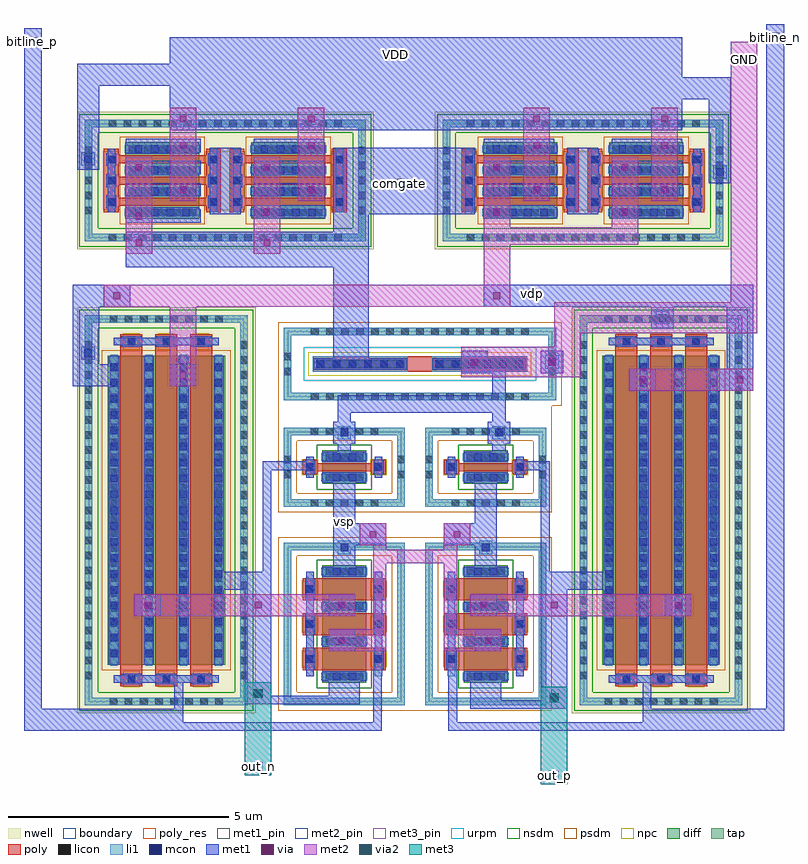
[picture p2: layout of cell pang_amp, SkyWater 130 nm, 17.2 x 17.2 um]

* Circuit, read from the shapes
.subckt pang_amp GND VDD bitline_n bitline_p comgate out_n out_p vdp vsp
XM1 vsp bitline_p out_n GND sky130_fd_pr__nfet_01v8 w=1 l=0.5 m=3
XM2 GND out_n vsp GND sky130_fd_pr__nfet_01v8 w=1 l=0.18
XM3 vsp bitline_n out_p GND sky130_fd_pr__nfet_01v8 w=1 l=0.5 m=3
XM4 GND out_p vsp GND sky130_fd_pr__nfet_01v8 w=1 l=0.18
XM5 out_n bitline_p vdp vdp sky130_fd_pr__pfet_01v8 w=7 l=0.5 m=3
XM6 VDD comgate comgate VDD sky130_fd_pr__pfet_01v8 w=1.67 l=0.18 m=6
XM7 VDD comgate vdp VDD sky130_fd_pr__pfet_01v8 w=1.67 l=0.18 m=6
XM8 vdp bitline_n out_p vdp sky130_fd_pr__pfet_01v8 w=7 l=0.5 m=3
XR9 GND comgate GND sky130_fd_pr__res_xhigh_po w=0.35 l=0.58
.ends

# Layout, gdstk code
from math import pi, radians
import gdstk
lib = gdstk.Library(unit=1e-6, precision=1e-09)
def R(c, l, rs):  # rectangles x0, y0, x1, y1
    for r in rs: c.add(gdstk.rectangle(r[:2], r[2:], *l))
def A(c, l, x, y, w, h, nx, ny, dx, dy):  # array of equal rectangles
    R(c, l, [(x+i*dx, y+j*dy, x+i*dx+w, y+j*dy+h) for i in range(nx) for j in range(ny)])
nwell = (64, 20)
diff = (65, 20)
tap = (65, 44)
poly_res = (66, 13)
poly = (66, 20)
licon = (66, 44)
li1 = (67, 20)
mcon = (67, 44)
met1_pin = (68, 16)
met1 = (68, 20)
via = (68, 44)
met2_pin = (69, 16)
met2 = (69, 20)
via2 = (69, 44)
met3_pin = (70, 16)
met3 = (70, 20)
urpm = (79, 20)
nsdm = (93, 44)
psdm = (94, 20)
npc = (95, 20)
boundary = (235, 4)

sky130_fd_pr__res_xhigh_ = lib.new_cell('sky130_fd_pr__res_xhigh_po_0p35_BWMUJD')
R(sky130_fd_pr__res_xhigh_, tap, [(-0.825,-3.08,0.825,-2.91), (-0.825,-2.91,-0.655,2.91), (0.655,-2.91,0.825,2.91), (-0.825,2.91,0.825,3.08)])
R(sky130_fd_pr__res_xhigh_, poly_res, [(-0.175,-0.35,0.175,0.35)])
R(sky130_fd_pr__res_xhigh_, poly, [(-0.175,-2.43,0.175,2.43)])
A(sky130_fd_pr__res_xhigh_, licon, -0.825, -2.465, 0.17, 0.17, 1, 15, 0, 0.34)
A(sky130_fd_pr__res_xhigh_, licon, 0.655, -2.465, 0.17, 0.17, 1, 15, 0, 0.34)
R(sky130_fd_pr__res_xhigh_, licon, [(-0.255,-3.08,-0.085,-2.91), (0.085,-3.08,0.255,-2.91), (-0.095,-2.35,0.095,-0.35), (-0.095,0.35,0.095,2.35), (-0.255,2.91,-0.085,3.08), (0.085,2.91,0.255,3.08)])
R(sky130_fd_pr__res_xhigh_, li1, [(-0.825,-3.08,0.825,-2.91), (-0.825,-2.91,-0.655,2.91), (0.655,-2.91,0.825,2.91), (-0.175,-2.43,0.175,-0.27), (-0.175,0.27,0.175,2.43), (-0.825,2.91,0.825,3.08)])
A(sky130_fd_pr__res_xhigh_, mcon, -0.085, -2.335, 0.17, 0.17, 1, 6, 0, 0.36)
A(sky130_fd_pr__res_xhigh_, mcon, -0.085, 0.36, 0.17, 0.17, 1, 6, 0, 0.36)
R(sky130_fd_pr__res_xhigh_, met1, [(-0.125,-2.4,0.125,-0.295), (-0.125,0.295,0.125,2.4)])
R(sky130_fd_pr__res_xhigh_, urpm, [(-0.375,-2.63,0.375,2.63)])
R(sky130_fd_pr__res_xhigh_, psdm, [(-0.95,-3.205,0.95,3.205)])
R(sky130_fd_pr__res_xhigh_, npc, [(-0.27,-2.525,0.27,2.525)])
R(sky130_fd_pr__res_xhigh_, boundary, [(-0.74,-2.995,0.74,2.995)])
sky130_fd_pr__res_xhigh_.add(gdstk.Label('B', (0,-2.995), layer=67, texttype=5))
sky130_fd_pr__res_xhigh_.add(gdstk.Label('R1', (0,2.255), layer=67, texttype=5))
sky130_fd_pr__res_xhigh_.add(gdstk.Label('R2', (0,-2.255), layer=67, texttype=5))

sky130_fd_pr__pfet_01v8_ = lib.new_cell('sky130_fd_pr__pfet_01v8_TGVDXL')
R(sky130_fd_pr__pfet_01v8_, nwell, [(-2.02,-4.595,2.02,4.595)])
R(sky130_fd_pr__pfet_01v8_, diff, [(-1.33,-3.5,1.33,3.5)])
R(sky130_fd_pr__pfet_01v8_, tap, [(-1.84,-4.415,1.84,-4.245), (-1.84,-4.245,-1.67,4.245), (1.67,-4.245,1.84,4.245), (-1.84,4.245,1.84,4.415)])
A(sky130_fd_pr__pfet_01v8_, poly, -1.04, -3.985, 0.5, 7.97, 3, 1, 0.79, 0)
A(sky130_fd_pr__pfet_01v8_, licon, -1.275, -4.415, 0.17, 0.17, 8, 2, 0.34, 8.66)
A(sky130_fd_pr__pfet_01v8_, licon, -0.875, -3.905, 0.17, 0.17, 3, 2, 0.79, 7.64)
A(sky130_fd_pr__pfet_01v8_, licon, -1.84, -3.825, 0.17, 0.17, 1, 23, 0, 0.34)
A(sky130_fd_pr__pfet_01v8_, licon, 1.67, -3.825, 0.17, 0.17, 1, 23, 0, 0.34)
A(sky130_fd_pr__pfet_01v8_, licon, -1.27, -3.315, 0.17, 0.17, 4, 20, 0.79, 0.34)
A(sky130_fd_pr__pfet_01v8_, li1, -1.27, -3.52, 0.17, 7.04, 4, 1, 0.79, 0)
R(sky130_fd_pr__pfet_01v8_, li1, [(-1.84,-4.415,1.84,-4.245), (-1.84,-4.245,-1.67,4.245), (1.67,-4.245,1.84,4.245), (-1.185,-3.905,1.185,-3.735), (-1.185,3.735,1.185,3.905), (-1.84,4.245,1.84,4.415)])
A(sky130_fd_pr__pfet_01v8_, mcon, -0.875, -3.905, 0.17, 0.17, 3, 2, 0.79, 7.64)
A(sky130_fd_pr__pfet_01v8_, mcon, -1.27, -3.325, 0.17, 0.17, 4, 19, 0.79, 0.36)
A(sky130_fd_pr__pfet_01v8_, met1, -1.02, -3.935, 0.46, 0.03, 3, 2, 0.79, 0.2)
A(sky130_fd_pr__pfet_01v8_, met1, -1.3, -3.5, 0.23, 7, 4, 1, 0.79, 0)
A(sky130_fd_pr__pfet_01v8_, met1, -1.02, 3.705, 0.46, 0.03, 3, 2, 0.79, 0.2)
R(sky130_fd_pr__pfet_01v8_, met1, [(-1.185,-3.905,1.185,-3.735), (-1.185,3.735,1.185,3.905)])
R(sky130_fd_pr__pfet_01v8_, nsdm, [(-1.965,-4.54,1.965,-4.12), (-1.965,-4.12,-1.545,4.12), (1.545,-4.12,1.965,4.12), (-1.965,4.12,1.965,4.54)])
R(sky130_fd_pr__pfet_01v8_, psdm, [(-1.455,-3.625,1.455,3.625)])
A(sky130_fd_pr__pfet_01v8_, npc, -0.975, -4.005, 0.37, 0.37, 3, 2, 0.79, 7.64)
R(sky130_fd_pr__pfet_01v8_, boundary, [(-1.755,-4.33,1.755,4.33)])
sky130_fd_pr__pfet_01v8_.add(gdstk.Label('B', (0,-4.33), layer=67, texttype=5))
sky130_fd_pr__pfet_01v8_.add(gdstk.Label('D0', (-1.185,0), layer=67, texttype=5))
sky130_fd_pr__pfet_01v8_.add(gdstk.Label('G', (0.79,3.82), layer=67, texttype=5))
sky130_fd_pr__pfet_01v8_.add(gdstk.Label('G', (0,3.82), layer=67, texttype=5))
sky130_fd_pr__pfet_01v8_.add(gdstk.Label('G', (-0.79,3.82), layer=67, texttype=5))
sky130_fd_pr__pfet_01v8_.add(gdstk.Label('S1', (-0.395,0), layer=67, texttype=5))
sky130_fd_pr__pfet_01v8_.add(gdstk.Label('D2', (0.395,0), layer=67, texttype=5))
sky130_fd_pr__pfet_01v8_.add(gdstk.Label('S2', (1.185,0), layer=67, texttype=5))

c_sky130_fd_pr__pfet_01v8_ = lib.new_cell('sky130_fd_pr__pfet_01v8_L3H7YA')
R(c_sky130_fd_pr__pfet_01v8_, nwell, [(-1.555,-3.355,1.555,3.355)])
R(c_sky130_fd_pr__pfet_01v8_, diff, [(-0.865,-2.26,0.865,-0.59), (-0.865,0.59,0.865,2.26)])
R(c_sky130_fd_pr__pfet_01v8_, tap, [(-1.375,-3.175,1.375,-3.005), (-1.375,-3.005,-1.205,3.005), (1.205,-3.005,1.375,3.005), (-1.375,3.005,1.375,3.175)])
A(c_sky130_fd_pr__pfet_01v8_, poly, -0.57, -2.415, 0.18, 1.98, 3, 2, 0.48, 2.85)
R(c_sky130_fd_pr__pfet_01v8_, poly, [(-0.72,-2.745,0.72,-2.415), (-0.72,-0.435,0.72,-0.105), (-0.72,0.105,0.72,0.435), (-0.72,2.415,0.72,2.745)])
A(c_sky130_fd_pr__pfet_01v8_, licon, -0.765, -3.175, 0.17, 0.17, 5, 2, 0.34, 6.18)
A(c_sky130_fd_pr__pfet_01v8_, licon, -0.565, -2.665, 0.17, 0.17, 3, 2, 0.48, 2.31)
A(c_sky130_fd_pr__pfet_01v8_, licon, -1.375, -2.635, 0.17, 0.17, 1, 16, 0, 0.34)
A(c_sky130_fd_pr__pfet_01v8_, licon, 1.205, -2.635, 0.17, 0.17, 1, 16, 0, 0.34)
A(c_sky130_fd_pr__pfet_01v8_, licon, -0.805, -2.19, 0.17, 0.17, 4, 5, 0.48, 0.34)
A(c_sky130_fd_pr__pfet_01v8_, licon, -0.565, 0.185, 0.17, 0.17, 3, 2, 0.48, 2.31)
A(c_sky130_fd_pr__pfet_01v8_, licon, -0.805, 0.66, 0.17, 0.17, 4, 5, 0.48, 0.34)
A(c_sky130_fd_pr__pfet_01v8_, li1, -0.805, -2.28, 0.17, 1.71, 4, 2, 0.48, 2.85)
R(c_sky130_fd_pr__pfet_01v8_, li1, [(-1.375,-3.175,1.375,-3.005), (-1.375,-3.005,-1.205,3.005), (1.205,-3.005,1.375,3.005), (-0.72,-2.665,0.72,-2.495), (-0.72,-0.355,0.72,-0.185), (-0.72,0.185,0.72,0.355), (-0.72,2.495,0.72,2.665), (-1.375,3.005,1.375,3.175)])
A(c_sky130_fd_pr__pfet_01v8_, mcon, -0.565, -2.665, 0.17, 0.17, 3, 2, 0.48, 2.31)
A(c_sky130_fd_pr__pfet_01v8_, mcon, -0.805, -2.05, 0.17, 0.17, 4, 4, 0.48, 0.36)
A(c_sky130_fd_pr__pfet_01v8_, mcon, -0.565, 0.185, 0.17, 0.17, 3, 2, 0.48, 2.31)
A(c_sky130_fd_pr__pfet_01v8_, mcon, -0.805, 0.8, 0.17, 0.17, 4, 4, 0.48, 0.36)
A(c_sky130_fd_pr__pfet_01v8_, met1, -0.625, -2.695, 0.29, 0.03, 3, 2, 0.48, 0.2)
A(c_sky130_fd_pr__pfet_01v8_, met1, -0.835, -2.26, 0.23, 1.67, 4, 2, 0.48, 2.85)
A(c_sky130_fd_pr__pfet_01v8_, met1, -0.625, -0.385, 0.29, 0.03, 3, 2, 0.48, 0.2)
A(c_sky130_fd_pr__pfet_01v8_, met1, -0.625, 0.155, 0.29, 0.03, 3, 2, 0.48, 0.2)
A(c_sky130_fd_pr__pfet_01v8_, met1, -0.625, 2.465, 0.29, 0.03, 3, 2, 0.48, 0.2)
R(c_sky130_fd_pr__pfet_01v8_, met1, [(-0.72,-2.665,0.72,-2.495), (-0.72,-0.355,0.72,-0.185), (-0.72,0.185,0.72,0.355), (-0.72,2.495,0.72,2.665)])
R(c_sky130_fd_pr__pfet_01v8_, nsdm, [(-1.5,-3.3,1.5,-2.88), (-1.5,-2.88,-1.08,2.88), (1.08,-2.88,1.5,2.88), (-1.5,2.88,1.5,3.3)])
R(c_sky130_fd_pr__pfet_01v8_, psdm, [(-0.99,-2.385,0.99,-0.465), (-0.99,0.465,0.99,2.385)])
R(c_sky130_fd_pr__pfet_01v8_, npc, [(-0.665,-2.765,0.665,-2.395), (-0.665,-0.455,0.665,0.455), (-0.665,2.395,0.665,2.765)])
R(c_sky130_fd_pr__pfet_01v8_, boundary, [(-1.29,-3.09,1.29,3.09)])
c_sky130_fd_pr__pfet_01v8_.add(gdstk.Label('B', (0,-3.09), layer=67, texttype=5))
c_sky130_fd_pr__pfet_01v8_.add(gdstk.Label('D0_0', (-0.72,-1.425), layer=67, texttype=5))
c_sky130_fd_pr__pfet_01v8_.add(gdstk.Label('G0', (0.48,-0.27), layer=67, texttype=5))
c_sky130_fd_pr__pfet_01v8_.add(gdstk.Label('G0', (0,-0.27), layer=67, texttype=5))
c_sky130_fd_pr__pfet_01v8_.add(gdstk.Label('G0', (-0.48,-0.27), layer=67, texttype=5))
c_sky130_fd_pr__pfet_01v8_.add(gdstk.Label('D0_1', (-0.72,1.425), layer=67, texttype=5))
c_sky130_fd_pr__pfet_01v8_.add(gdstk.Label('G1', (0.48,2.58), layer=67, texttype=5))
c_sky130_fd_pr__pfet_01v8_.add(gdstk.Label('G1', (0,2.58), layer=67, texttype=5))
c_sky130_fd_pr__pfet_01v8_.add(gdstk.Label('G1', (-0.48,2.58), layer=67, texttype=5))
c_sky130_fd_pr__pfet_01v8_.add(gdstk.Label('S1_0', (-0.24,-1.425), layer=67, texttype=5))
c_sky130_fd_pr__pfet_01v8_.add(gdstk.Label('S1_1', (-0.24,1.425), layer=67, texttype=5))
c_sky130_fd_pr__pfet_01v8_.add(gdstk.Label('D2_0', (0.24,-1.425), layer=67, texttype=5))
c_sky130_fd_pr__pfet_01v8_.add(gdstk.Label('S2_0', (0.72,-1.425), layer=67, texttype=5))
c_sky130_fd_pr__pfet_01v8_.add(gdstk.Label('D2_1', (0.24,1.425), layer=67, texttype=5))
c_sky130_fd_pr__pfet_01v8_.add(gdstk.Label('S2_1', (0.72,1.425), layer=67, texttype=5))

sky130_fd_pr__nfet_01v8_ = lib.new_cell('sky130_fd_pr__nfet_01v8_K8VX6U')
R(sky130_fd_pr__nfet_01v8_, diff, [(-1.33,-0.5,1.33,0.5)])
R(sky130_fd_pr__nfet_01v8_, tap, [(-1.84,-1.37,1.84,-1.2), (-1.84,-1.2,-1.67,1.2), (1.67,-1.2,1.84,1.2), (-1.84,1.2,1.84,1.37)])
A(sky130_fd_pr__nfet_01v8_, poly, -1.04, -0.94, 0.5, 1.88, 3, 1, 0.79, 0)
A(sky130_fd_pr__nfet_01v8_, licon, -0.875, -0.86, 0.17, 0.17, 3, 2, 0.79, 1.55)
A(sky130_fd_pr__nfet_01v8_, licon, -1.27, -0.425, 0.17, 0.17, 4, 3, 0.79, 0.34)
A(sky130_fd_pr__nfet_01v8_, li1, -1.27, -0.52, 0.17, 1.04, 4, 1, 0.79, 0)
R(sky130_fd_pr__nfet_01v8_, li1, [(-1.84,-1.37,1.84,-1.2), (-1.84,-1.2,-1.67,1.2), (1.67,-1.2,1.84,1.2), (-1.185,-0.86,1.185,-0.69), (-1.185,0.69,1.185,0.86), (-1.84,1.2,1.84,1.37)])
A(sky130_fd_pr__nfet_01v8_, mcon, -0.875, -0.86, 0.17, 0.17, 3, 2, 0.79, 1.55)
A(sky130_fd_pr__nfet_01v8_, mcon, -1.27, -0.265, 0.17, 0.17, 4, 2, 0.79, 0.36)
A(sky130_fd_pr__nfet_01v8_, met1, -1.02, -0.89, 0.46, 0.03, 3, 2, 0.79, 0.2)
A(sky130_fd_pr__nfet_01v8_, met1, -1.3, -0.5, 0.23, 1, 4, 1, 0.79, 0)
A(sky130_fd_pr__nfet_01v8_, met1, -1.02, 0.66, 0.46, 0.03, 3, 2, 0.79, 0.2)
R(sky130_fd_pr__nfet_01v8_, met1, [(-1.185,-0.86,1.185,-0.69), (-1.185,0.69,1.185,0.86)])
R(sky130_fd_pr__nfet_01v8_, nsdm, [(-1.455,-0.625,1.455,0.625)])
R(sky130_fd_pr__nfet_01v8_, psdm, [(-1.965,-1.495,1.965,-1.075), (-1.965,-1.075,-1.545,1.075), (1.545,-1.075,1.965,1.075), (-1.965,1.075,1.965,1.495)])
A(sky130_fd_pr__nfet_01v8_, npc, -0.975, -0.96, 0.37, 0.37, 3, 2, 0.79, 1.55)
R(sky130_fd_pr__nfet_01v8_, boundary, [(-1.755,-1.285,1.755,1.285)])
sky130_fd_pr__nfet_01v8_.add(gdstk.Label('B', (0,-1.285), layer=65, texttype=5))
sky130_fd_pr__nfet_01v8_.add(gdstk.Label('D0', (-1.185,0), layer=67, texttype=5))
sky130_fd_pr__nfet_01v8_.add(gdstk.Label('G', (0.79,0.775), layer=67, texttype=5))
sky130_fd_pr__nfet_01v8_.add(gdstk.Label('G', (0,0.775), layer=67, texttype=5))
sky130_fd_pr__nfet_01v8_.add(gdstk.Label('G', (-0.79,0.775), layer=67, texttype=5))
sky130_fd_pr__nfet_01v8_.add(gdstk.Label('S1', (-0.395,0), layer=67, texttype=5))
sky130_fd_pr__nfet_01v8_.add(gdstk.Label('D2', (0.395,0), layer=67, texttype=5))
sky130_fd_pr__nfet_01v8_.add(gdstk.Label('S2', (1.185,0), layer=67, texttype=5))

c_sky130_fd_pr__nfet_01v8_ = lib.new_cell('sky130_fd_pr__nfet_01v8_2BLVHV')
R(c_sky130_fd_pr__nfet_01v8_, diff, [(-0.38,-0.5,0.38,0.5)])
R(c_sky130_fd_pr__nfet_01v8_, tap, [(-0.89,-1.37,0.89,-1.2), (-0.89,-1.2,-0.72,1.2), (0.72,-1.2,0.89,1.2), (-0.89,1.2,0.89,1.37)])
R(c_sky130_fd_pr__nfet_01v8_, poly, [(-0.165,-0.94,0.165,-0.61), (-0.09,-0.61,0.09,0.61), (-0.165,0.61,0.165,0.94)])
A(c_sky130_fd_pr__nfet_01v8_, licon, -0.89, -0.765, 0.17, 0.17, 1, 5, 0, 0.34)
A(c_sky130_fd_pr__nfet_01v8_, licon, 0.72, -0.765, 0.17, 0.17, 1, 5, 0, 0.34)
A(c_sky130_fd_pr__nfet_01v8_, licon, -0.32, -0.425, 0.17, 0.17, 1, 3, 0, 0.34)
A(c_sky130_fd_pr__nfet_01v8_, licon, 0.15, -0.425, 0.17, 0.17, 1, 3, 0, 0.34)
R(c_sky130_fd_pr__nfet_01v8_, licon, [(-0.255,-1.37,-0.085,-1.2), (0.085,-1.37,0.255,-1.2), (-0.085,-0.86,0.085,-0.69), (-0.085,0.69,0.085,0.86), (-0.255,1.2,-0.085,1.37), (0.085,1.2,0.255,1.37)])
R(c_sky130_fd_pr__nfet_01v8_, li1, [(-0.89,-1.37,0.89,-1.2), (-0.89,-1.2,-0.72,1.2), (0.72,-1.2,0.89,1.2), (-0.235,-0.86,0.235,-0.69), (-0.32,-0.52,-0.15,0.52), (0.15,-0.52,0.32,0.52), (-0.235,0.69,0.235,0.86), (-0.89,1.2,0.89,1.37)])
R(c_sky130_fd_pr__nfet_01v8_, mcon, [(-0.085,-0.86,0.085,-0.69), (-0.32,-0.265,-0.15,-0.095), (0.15,-0.265,0.32,-0.095), (-0.32,0.095,-0.15,0.265), (0.15,0.095,0.32,0.265), (-0.085,0.69,0.085,0.86)])
R(c_sky130_fd_pr__nfet_01v8_, met1, [(-0.145,-0.89,0.145,-0.86), (-0.235,-0.86,0.235,-0.69), (-0.145,-0.69,0.145,-0.66), (-0.35,-0.5,-0.12,0.5), (0.12,-0.5,0.35,0.5), (-0.145,0.66,0.145,0.69), (-0.235,0.69,0.235,0.86), (-0.145,0.86,0.145,0.89)])
R(c_sky130_fd_pr__nfet_01v8_, nsdm, [(-0.505,-0.625,0.505,0.625)])
R(c_sky130_fd_pr__nfet_01v8_, psdm, [(-1.015,-1.495,1.015,-1.075), (-1.015,-1.075,-0.595,1.075), (0.595,-1.075,1.015,1.075), (-1.015,1.075,1.015,1.495)])
R(c_sky130_fd_pr__nfet_01v8_, npc, [(-0.185,-0.96,0.185,-0.59), (-0.185,0.59,0.185,0.96)])
R(c_sky130_fd_pr__nfet_01v8_, boundary, [(-0.805,-1.285,0.805,1.285)])
c_sky130_fd_pr__nfet_01v8_.add(gdstk.Label('B', (0,-1.285), layer=67, texttype=5))
c_sky130_fd_pr__nfet_01v8_.add(gdstk.Label('D', (-0.235,0), layer=67, texttype=5))
c_sky130_fd_pr__nfet_01v8_.add(gdstk.Label('S', (0.235,0), layer=67, texttype=5))
c_sky130_fd_pr__nfet_01v8_.add(gdstk.Label('G', (0,0.775), layer=67, texttype=5))

pang_amp = lib.new_cell('pang_amp')
R(pang_amp, li1, [(13.4,18.6,13.7,18.9), (16.6,18.6,16.9,18.9), (13.4,21.2,13.7,21.5), (16.9,21.2,17.2,21.5), (18.1,22.8,18.4,23.1), (7.6,23,7.9,23.3), (20.6,23.8,20.9,24.1), (21.9,27.1,22.2,27.4), (7.6,27.4,7.9,27.7)])
R(pang_amp, mcon, [(13.465,18.665,13.635,18.835), (16.665,18.665,16.835,18.835), (13.465,21.265,13.635,21.435), (16.965,21.265,17.135,21.435), (18.165,22.865,18.335,23.035), (7.665,23.065,7.835,23.235), (20.665,23.865,20.835,24.035), (21.965,27.165,22.135,27.335), (7.665,27.465,7.835,27.635)])
R(pang_amp, met1_pin, [(13.5,19.3,13.6,19.4), (17.7,24.4,17.9,24.6), (14.7,26.9,14.9,27.1), (14.6,29.8,14.8,30), (6.4,30.1,6.6,30.3), (23.2,30.2,23.4,30.4)])
A(pang_amp, met1, 11.5, 26.2, 1.6, 0.3, 1, 4, 0, 0.5)
A(pang_amp, met1, 16.7, 26.2, 1.6, 0.3, 1, 4, 0, 0.5)
A(pang_amp, met1, 19.6, 26.2, 1.6, 0.3, 1, 4, 0, 0.5)
A(pang_amp, met1, 8.6, 26.7, 1.7, 0.3, 1, 3, 0, 0.5)
R(pang_amp, met1, [(6.3,14.6,14.4,14.8), (15.9,14.6,23.5,14.8), (6.3,14.8,9.9,15.1), (14.2,14.8,14.4,16), (15.9,14.8,16.1,16), (20.3,14.8,23.5,15.1), (6.3,15.1,6.7,30.5), (9.7,15.1,9.9,15.7), (16.4,15.1,18.6,15.3), (20.3,15.1,20.5,15.7), (23.1,15.1,23.5,30.6), (11.3,15.2,13.9,15.4), (16.4,15.3,17.1,15.8), (18,15.3,18.6,17.8), (11.3,15.4,11.9,17.8), (13.2,15.4,13.9,15.8), (13.2,16.4,13.8,16.9), (16.5,16.4,17.1,16.9), (8.8,17.2,9.4,17.7), (13.2,17.2,13.8,17.7), (16.4,17.2,17,17.7), (20.8,17.2,21.4,17.7), (10.8,17.8,11.9,18.2), (18,17.8,19.5,18.2), (11.7,18.2,11.9,20.5), (18,18.2,18.2,20.5), (13.3,18.3,13.8,18.8), (16.5,18.3,17,18.8), (13.3,18.8,14.5,19.3), (15.8,18.8,17,19.3), (13.3,19.3,13.8,20.3), (16.5,19.3,17,20.3), (11.7,20.5,12.8,20.7), (17.5,20.5,18.2,20.7), (13.4,20.9,13.7,21.1), (16.9,20.9,17.2,21.1), (13.3,21.1,13.8,21.6), (16.8,21.1,17.3,21.6), (13.4,21.6,13.7,21.8), (16.9,21.6,17.2,21.8), (13.4,21.8,17.2,22.2), (16.9,22.2,17.2,22.7), (20,22.3,20.6,22.8), (21.8,22.3,22.8,22.8), (7.4,22.4,8.4,22.9), (9.6,22.4,10.2,22.9), (16.2,22.7,17.2,22.8), (18,22.7,18.5,23.2), (13.3,22.8,14.1,25.1), (16.2,22.8,16.8,23.2), (22.2,22.8,22.8,24.2), (7.4,22.9,8,24.2), (20.5,23.7,21,24.2), (7.4,24.2,8.7,24.7), (16.7,24.2,22.8,24.7), (8.6,25.1,14.1,25.9), (13.3,25.9,14.1,26.3), (8.6,26.1,10.3,26.4), (10.5,26.3,11.2,27.8), (13.3,26.3,16.5,27.8), (18.6,26.3,19.3,27.8), (21.8,27,22.3,28.9), (7.5,27.3,8,29.2), (9.6,28.2,21.2,28.9), (9.6,28.9,22.3,29.2), (7.5,29.2,22.3,29.4), (7.5,29.4,21.2,29.7), (9.6,29.7,21.2,30.3)])
R(pang_amp, via, [(18.225,15.275,18.375,15.425), (11.525,15.375,11.675,15.525), (13.425,16.575,13.575,16.725), (16.725,16.575,16.875,16.725), (9.025,17.375,9.175,17.525), (11.525,17.375,11.675,17.525), (13.425,17.375,13.575,17.525), (16.625,17.375,16.775,17.525), (18.225,17.375,18.375,17.525), (21.025,17.375,21.175,17.525), (14.125,18.975,14.275,19.125), (16.025,18.975,16.175,19.125), (20.225,22.475,20.375,22.625), (22.425,22.475,22.575,22.625), (9.825,22.575,9.975,22.725), (16.425,22.875,16.575,23.025), (18.175,22.875,18.325,23.025), (8.325,24.375,8.475,24.525), (16.925,24.375,17.075,24.525), (8.825,25.575,8.975,25.725), (11.725,25.575,11.875,25.725), (8.825,26.175,8.975,26.325), (11.725,26.275,11.875,26.425), (16.925,26.275,17.075,26.425), (19.825,26.275,19.975,26.425), (9.825,26.775,9.975,26.925), (12.725,26.775,12.875,26.925), (17.825,26.775,17.975,26.925), (20.725,26.775,20.875,26.925), (8.825,27.275,8.975,27.425), (11.725,27.275,11.875,27.425), (16.925,27.275,17.075,27.425), (19.825,27.275,19.975,27.425), (9.825,27.775,9.975,27.925), (12.725,27.775,12.875,27.925), (17.825,27.775,17.975,27.925), (20.725,27.775,20.875,27.925), (9.825,28.375,9.975,28.525), (12.725,28.375,12.875,28.525), (17.825,28.375,17.975,28.525), (20.725,28.375,20.875,28.525)])
R(pang_amp, met2_pin, [(22.5,29.7,22.7,29.9)])
R(pang_amp, met2, [(18,15.1,18.6,15.6), (11.3,15.2,11.9,15.7), (13.2,16.4,14.5,16.9), (15.8,16.4,17.1,16.9), (14.2,16.9,14.5,18.4), (15.8,16.9,16.1,18.4), (8.8,17.2,13.8,17.7), (16.4,17.2,21.4,17.7), (14.2,18.4,16.1,18.7), (14.2,18.7,14.5,18.8), (15.8,18.7,16.1,18.8), (13.9,18.8,14.5,19.3), (15.8,18.8,16.4,19.3), (20,22.3,22.8,22.8), (9.6,22.4,10.2,24.2), (16.2,22.6,18.9,23.3), (18.3,23.3,18.9,23.6), (18.3,23.6,22.9,24.3), (8.1,24.2,17.3,24.7), (22.3,24.3,22.9,30.2), (16.7,24.7,17.3,25.6), (8.6,25.4,9.2,27.6), (11.5,25.4,12.1,27.6), (16.7,25.6,20.2,26), (16.7,26,17.3,27.6), (19.6,26,20.2,27.6), (9.6,26.6,10.2,28.7), (12.5,26.6,13.1,28.7), (17.6,26.6,18.2,28.7), (20.5,26.6,21.1,28.7)])
R(pang_amp, via2, [(18.2,15.25,18.4,15.45), (11.5,15.35,11.7,15.55)])
R(pang_amp, met3_pin, [(18.2,13.5,18.4,13.7), (11.5,13.7,11.7,13.9)])
R(pang_amp, met3, [(18,13.4,18.6,15.6), (11.3,13.6,11.9,15.7)])
R(pang_amp, psdm, [(15.045,15.055,15.255,18.985), (15.045,19.555,15.255,21.585), (12.055,21.585,18.245,21.955)])
pang_amp.add(gdstk.Reference(sky130_fd_pr__res_xhigh_, (15.26,22.905), rotation=3*pi/2))
pang_amp.add(gdstk.Reference(sky130_fd_pr__pfet_01v8_, (20.72,19.595)))
pang_amp.add(gdstk.Reference(sky130_fd_pr__pfet_01v8_, (9.52,19.595)))
pang_amp.add(gdstk.Reference(c_sky130_fd_pr__pfet_01v8_, (10.855,27.055), rotation=3*pi/2))
pang_amp.add(gdstk.Reference(c_sky130_fd_pr__pfet_01v8_, (18.955,27.055), rotation=3*pi/2))
pang_amp.add(gdstk.Reference(sky130_fd_pr__nfet_01v8_, (13.55,17.02), rotation=3*pi/2))
pang_amp.add(gdstk.Reference(sky130_fd_pr__nfet_01v8_, (16.75,17.02), rotation=3*pi/2))
pang_amp.add(gdstk.Reference(c_sky130_fd_pr__nfet_01v8_, (16.75,20.57), rotation=3*pi/2))
pang_amp.add(gdstk.Reference(c_sky130_fd_pr__nfet_01v8_, (13.55,20.57), rotation=3*pi/2))
pang_amp.add(gdstk.Label('VDD', (14.7,29.9), layer=68, texttype=5))
pang_amp.add(gdstk.Label('GND', (22.6,29.8), layer=69, texttype=5))
pang_amp.add(gdstk.Label('bitline_p', (6.5,30.2), layer=68, texttype=5))
pang_amp.add(gdstk.Label('bitline_n', (23.3,30.3), layer=68, texttype=5))
pang_amp.add(gdstk.Label('out_p', (18.3,13.6), layer=70, texttype=5))
pang_amp.add(gdstk.Label('out_n', (11.6,13.8), layer=70, texttype=5))
pang_amp.add(gdstk.Label('comgate', (14.8,27), layer=68, texttype=5))
pang_amp.add(gdstk.Label('vdp', (17.8,24.5), layer=68, texttype=5))
pang_amp.add(gdstk.Label('vsp', (13.55,19.35), layer=68, texttype=5))

lib.write_gds('pang_amp.gds')
